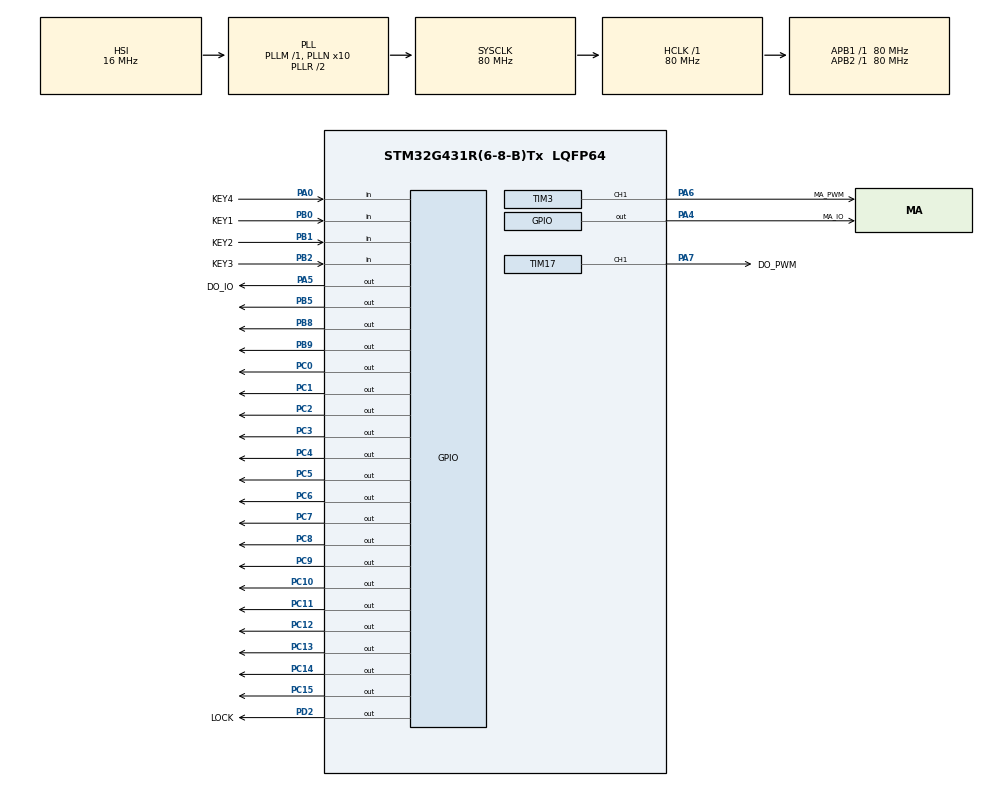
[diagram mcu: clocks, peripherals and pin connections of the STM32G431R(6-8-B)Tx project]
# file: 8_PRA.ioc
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Mcu.Family=STM32G4
Mcu.Name=STM32G431R(6-8-B)Tx
Mcu.Package=LQFP64
NVIC.PriorityGroup=NVIC_PRIORITYGROUP_4
NVIC.TIM2_IRQn=true\:0\:0\:false\:false\:true\:true\:true
PA0.GPIO_Label=KEY4
PA0.Signal=GPIO_Input
PA13.Mode=Serial_Wire
PA13.Signal=SYS_JTMS-SWDIO
PA14.Mode=Serial_Wire
PA14.Signal=SYS_JTCK-SWCLK
PA4.GPIO_Label=MA_IO
PA4.Signal=GPIO_Output
PA5.GPIO_Label=DO_IO
PA5.Signal=GPIO_Output
PA6.GPIO_Label=MA_PWM
PA6.Signal=S_TIM3_CH1
PA7.GPIO_Label=DO_PWM
PA7.Signal=S_TIM17_CH1
PB0.GPIO_Label=KEY1
PB0.Signal=GPIO_Input
PB1.GPIO_Label=KEY2
PB1.Signal=GPIO_Input
PB2.GPIO_Label=KEY3
PB2.Signal=GPIO_Input
PB5.Signal=GPIO_Output
PB8-BOOT0.Signal=GPIO_Output
PB9.Signal=GPIO_Output
PC0.Signal=GPIO_Output
PC1.Signal=GPIO_Output
PC10.Signal=GPIO_Output
PC11.Signal=GPIO_Output
PC12.Signal=GPIO_Output
PC13.Signal=GPIO_Output
PC14-OSC32_IN.Signal=GPIO_Output
PC15-OSC32_OUT.Signal=GPIO_Output
PC2.Signal=GPIO_Output
PC3.Signal=GPIO_Output
PC4.Signal=GPIO_Output
PC5.Signal=GPIO_Output
PC6.Signal=GPIO_Output
PC7.Signal=GPIO_Output
PC8.Signal=GPIO_Output
PC9.Signal=GPIO_Output
PD2.GPIO_Label=LOCK
PD2.Signal=GPIO_Output
PF0-OSC_IN.Mode=HSE-External-Oscillator
PF0-OSC_IN.Signal=RCC_OSC_IN
PF1-OSC_OUT.Mode=HSE-External-Oscillator
PF1-OSC_OUT.Signal=RCC_OSC_OUT
ProjectManager.HeapSize=0x200
ProjectManager.StackSize=0x400
ProjectManager.TargetToolchain=MDK-ARM V5.27
RCC.ADC12Freq_Value=80000000
RCC.AHBFreq_Value=80000000
RCC.APB1Freq_Value=80000000
RCC.APB1TimFreq_Value=80000000
RCC.APB2Freq_Value=80000000
RCC.APB2TimFreq_Value=80000000
RCC.CortexFreq_Value=80000000
RCC.EXTERNAL_CLOCK_VALUE=12288000
RCC.HCLKFreq_Value=80000000
RCC.HSE_VALUE=8000000
RCC.HSI48_VALUE=48000000
RCC.HSI_VALUE=16000000
RCC.LSE_VALUE=32768
RCC.PLLN=10
RCC.SYSCLKFreq_VALUE=80000000
RCC.SYSCLKSource=RCC_SYSCLKSOURCE_PLLCLK
RCC.USBFreq_Value=80000000
RCC.VCOOutputFreq_Value=160000000
RTC.AsynchPrediv=127
RTC.Date=13
RTC.Hours=20
RTC.Minutes=13
RTC.Month=RTC_MONTH_MARCH
RTC.Seconds=13
RTC.SynchPrediv=255
RTC.WeekDay=RTC_WEEKDAY_SATURDAY
SH.S_TIM17_CH1.0=TIM17_CH1,PWM Generation1 CH1
SH.S_TIM3_CH1.0=TIM3_CH1,PWM Generation1 CH1
TIM17.Channel=TIM_CHANNEL_1
TIM17.PeriodNoDither=500-1
TIM17.Prescaler=80-1
TIM2.PeriodNoDither=1000-1
TIM2.Prescaler=80-1
TIM3.Channel-PWM\ Generation1\ CH1=TIM_CHANNEL_1
TIM3.PeriodNoDither=1000-1
TIM3.Prescaler=80-1
VP_RTC_VS_RTC_Activate.Mode=RTC_Enabled
VP_RTC_VS_RTC_Calendar.Mode=RTC_Calendar
VP_SYS_VS_DBSignals.Mode=DisableDeadBatterySignals
VP_TIM17_VS_ClockSourceINT.Mode=Enable_Timer
VP_TIM2_VS_ClockSourceINT.Mode=Internal
board=custom

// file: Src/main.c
/* USER CODE BEGIN Header */
/**
  ******************************************************************************
  * @file           : main.c
  * @brief          : Main program body
  ******************************************************************************
  * @attention
  *
  * <h2><center>&copy; Copyright (c) 2022 STMicroelectronics.
  * All rights reserved.</center></h2>
  *
  * This software component is licensed by ST under BSD 3-Clause license,
  * the "License"; You may not use this file except in compliance with the
  * License. You may obtain a copy of the License at:
  *                        opensource.org/licenses/BSD-3-Clause
  *
  ******************************************************************************
  */
/* USER CODE END Header */
#include "main.h"
#include "rtc.h"
#include "tim.h"
#include "gpio.h"

/* USER CODE BEGIN Includes */
#include "stdio.h"
#include "string.h"
#include "lcd.h"
#include "acan.h"
#include "stdlib.h "
/* USER CODE END Includes */

/* USER CODE BEGIN PV */

//RTC
RTC_TimeTypeDef T;
RTC_DateTypeDef D;

//LCD
char buff1[50], buff2[50], buff3[50];

//IT
int i = 0, j = 0, k = 0, m = 0, n = 0, a = 0;
//楼层
int flag1 = 0, flag2 = 0, flag3 = 0, flag4 = 0;
int aim[4] = {0};
int temp[4] = {0};
int num = 0, num2 = 0, change = 0;
int floor_now = 1;
int motor_flag = 0;
int motor_go = 0;
int door_up_flag = 0, door_down_flag = 0, door_wait = 0;
int other_flag = 0;
int floor_lcd = 0;
int floor_shan = 0;
//按键
int flag_key = 0;
//LED
int led_up_flag = 0, led_down_flag = 0;
int led_off_flag = 0;
int led_break = 0;
/* USER CODE END PV */

void SystemClock_Config(void);

/* USER CODE BEGIN 0 */
void Key_Control(void);
void Key_handel(void);
void Motor_Order(void);
void Motor_Work(void);
/* USER CODE END 0 */

int main(void)
{

  /* MCU Configuration--------------------------------------------------------*/

  /* Reset of all peripherals, Initializes the Flash interface and the Systick. */
  HAL_Init();

  /* Configure the system clock */
  SystemClock_Config();

  /* Initialize all configured peripherals */
  MX_GPIO_Init();
  MX_RTC_Init();
  MX_TIM3_Init();
  MX_TIM2_Init();
  MX_TIM17_Init();
  /* USER CODE BEGIN 2 */
	LCD_Init();
	LCD_Clear(Black);
	LCD_SetBackColor(Black);
	LCD_SetTextColor(White);
	HAL_TIM_PWM_Start(&htim3, TIM_CHANNEL_1);
	HAL_TIM_PWM_Start(&htim17, TIM_CHANNEL_1);
	//升降机门
	HAL_GPIO_WritePin(DO_IO_GPIO_Port, DO_IO_Pin, GPIO_PIN_SET);
	Init_Dis();
	Led_Off();
	HAL_TIM_Base_Start_IT(&htim2);
  /* USER CODE END 2 */

  /* Infinite loop */
  while (1)
  {

    /* USER CODE BEGIN 3 */
		Rtc_Tim();
		Key_Control();
		if (motor_flag == 1)
		{
			Motor_Order();
			motor_flag = 0;
		}
		//ceshi
		sprintf(buff3, "num:%1d// %1d %1d %1d ch:%1d      ", num2, temp[0], temp[1], temp[2], change);
			LCD_DisplayStringLine(Line6, (u8 *)buff3);
		sprintf(buff3, "%d %d", floor_now, motor_flag);
			LCD_DisplayStringLine(Line7, (u8 *)buff3);
		//ceshi
		if (floor_lcd == 1)
		{
			sprintf(buff2, "       LEVEL    ");
			LCD_DisplayStringLine(Line2, (u8 *)buff2);
			sprintf(buff2, "         %d      ", floor_now);
			LCD_DisplayStringLine(Line5, (u8 *)buff2);
//			if (floor_shan >= 2)
//			{
//				floor_lcd = 0;
//				floor_shan = 0;
//			}

			if ((floor_shan < 2)&& (led_break == 0))// && (led_break < 3)
			{
//				if ((floor_now == aim[change]))
//					led_break++;
//				else led_break = 0;
				LCD_ClearLine(Line5);
			}
			else
			{
				led_break = 1;
				floor_lcd = 0;
				floor_shan = 0;
			}
		}

		//上下电梯指示灯
		if (led_up_flag == 1)
		{
			Led_Up();
		}
		else if (led_down_flag == 1)
		{
			Led_Dowm();
		}
		else if (led_off_flag == 1)
		{
			Led_Random_Off(floor_now);
		}
		else
		{
			led_stop();
		}

  }
  /* USER CODE END 3 */
}

void SystemClock_Config(void)
{
  RCC_OscInitTypeDef RCC_OscInitStruct = {0};
  RCC_ClkInitTypeDef RCC_ClkInitStruct = {0};
  RCC_PeriphCLKInitTypeDef PeriphClkInit = {0};

  /** Configure the main internal regulator output voltage
  */
  HAL_PWREx_ControlVoltageScaling(PWR_REGULATOR_VOLTAGE_SCALE1);
  /** Initializes the RCC Oscillators according to the specified parameters
  * in the RCC_OscInitTypeDef structure.
  */
  RCC_OscInitStruct.OscillatorType = RCC_OSCILLATORTYPE_HSI|RCC_OSCILLATORTYPE_LSI;
  RCC_OscInitStruct.HSIState = RCC_HSI_ON;
  RCC_OscInitStruct.HSICalibrationValue = RCC_HSICALIBRATION_DEFAULT;
  RCC_OscInitStruct.LSIState = RCC_LSI_ON;
  RCC_OscInitStruct.PLL.PLLState = RCC_PLL_ON;
  RCC_OscInitStruct.PLL.PLLSource = RCC_PLLSOURCE_HSI;
  RCC_OscInitStruct.PLL.PLLM = RCC_PLLM_DIV1;
  RCC_OscInitStruct.PLL.PLLN = 10;
  RCC_OscInitStruct.PLL.PLLP = RCC_PLLP_DIV2;
  RCC_OscInitStruct.PLL.PLLQ = RCC_PLLQ_DIV2;
  RCC_OscInitStruct.PLL.PLLR = RCC_PLLR_DIV2;
  if (HAL_RCC_OscConfig(&RCC_OscInitStruct) != HAL_OK)
  {
    Error_Handler();
  }
  /** Initializes the CPU, AHB and APB buses clocks
  */
  RCC_ClkInitStruct.ClockType = RCC_CLOCKTYPE_HCLK|RCC_CLOCKTYPE_SYSCLK
                              |RCC_CLOCKTYPE_PCLK1|RCC_CLOCKTYPE_PCLK2;
  RCC_ClkInitStruct.SYSCLKSource = RCC_SYSCLKSOURCE_PLLCLK;
  RCC_ClkInitStruct.AHBCLKDivider = RCC_SYSCLK_DIV1;
  RCC_ClkInitStruct.APB1CLKDivider = RCC_HCLK_DIV1;
  RCC_ClkInitStruct.APB2CLKDivider = RCC_HCLK_DIV1;

  if (HAL_RCC_ClockConfig(&RCC_ClkInitStruct, FLASH_LATENCY_2) != HAL_OK)
  {
    Error_Handler();
  }
  /** Initializes the peripherals clocks
  */
  PeriphClkInit.PeriphClockSelection = RCC_PERIPHCLK_RTC;
  PeriphClkInit.RTCClockSelection = RCC_RTCCLKSOURCE_LSI;

  if (HAL_RCCEx_PeriphCLKConfig(&PeriphClkInit) != HAL_OK)
  {
    Error_Handler();
  }
}

/* USER CODE BEGIN 4 */
void HAL_TIM_PeriodElapsedCallback(TIM_HandleTypeDef *htim)
{
	if (htim == &htim2)
	{
		Key_handel();
		if (flag_key == 1)
		{
			j++;
		}
		if (j == 1000)
		{
			j = 0;
			flag_key = 0;
			motor_flag = 1;
		}
		if (motor_go == 1)
		{
			Motor_Work();
			i++;
			if (i == 6000)
			{
				i = 0;
				motor_flag = 0;
				led_off_flag = 1;
				led_down_flag = 0;
				led_up_flag = 0;
				door_up_flag = 1;
				motor_go = 0;
				floor_lcd = 1;

				if (temp[change] > floor_now)
				{
					floor_now++;
				}
				else if (temp[change] < floor_now)
				{
					floor_now--;
				}
			}
		}
		//开门
		if (door_up_flag == 1)
		{
			HAL_GPIO_WritePin(DO_IO_GPIO_Port, DO_IO_Pin, GPIO_PIN_SET);
			__HAL_TIM_SetCompare(&htim17, TIM_CHANNEL_1, 300);
			k++;
			if (k == 4000)
			{
				k = 0;
				if (temp[change + 1] != 0)
				{
					door_wait = 1;
				}
				else
				{
					door_down_flag = 1;
				}
				door_up_flag = 0;
			}
		}
		//停留
		if (door_wait == 1)
		{
			m++;
			if (m == 2000)
			{
				m = 0;
				door_down_flag = 1;
			}
		}
		//关门
		if (door_down_flag == 1)
		{
			HAL_GPIO_WritePin(DO_IO_GPIO_Port, DO_IO_Pin, GPIO_PIN_RESET);
			__HAL_TIM_SetCompare(&htim17, TIM_CHANNEL_1, 250);
			n++;
			if (n == 4000)
			{
				n = 0;
				door_down_flag = 0;
				if (change < num2)
				{
					motor_go = 1;
				}
			}
		}
		//闪灯
		if (floor_lcd == 1)
		{
			a++;
			if (a == 375)
			{
				a = 0;
				floor_shan++;
			}
		}

	}
}

void Motor_Work(void)
{
	if (change < num2)
	{
		if (temp[change] > floor_now)
		{
			led_up_flag = 1;
			__HAL_TIM_SetCompare(&htim3, TIM_CHANNEL_1, 800);
			HAL_GPIO_WritePin(MA_IO_GPIO_Port, MA_IO_Pin, GPIO_PIN_SET);
//			floor_now++;
		}
		else if (temp[change] < floor_now)
		{
			led_down_flag = 1;
			__HAL_TIM_SetCompare(&htim3, TIM_CHANNEL_1, 600);
			HAL_GPIO_WritePin(MA_IO_GPIO_Port, MA_IO_Pin, GPIO_PIN_RESET);
//			floor_now--;
		}
		else if (floor_now == temp[change])
		{
			if (temp[change + 1] != 0)
			{
				change++;
				led_break = 0;
			}
		}
	}
}

void Motor_Order(void)
{
	int i, value, j;

	for(i = 0; i < num-1; i++)
	{
		if (aim[i] < aim[i + 1])
		{
			value = aim[i];
			aim[i] = aim[i + 1];
			aim[i + 1] = value;
		}
	}
	for (j = 0; j < 3; j++)
	{
		temp[j] = aim[j];
	}
	num2 = num;
	num = 0;
	for (j = 0; j < 3; j++)
	{
		aim[j] = 0;
	}
	HAL_GPIO_WritePin(DO_IO_GPIO_Port, DO_IO_Pin, GPIO_PIN_RESET);
	door_down_flag = 1;
}

void Key_handel(void)
{
	if(Key_Scan(KEY1_GPIO_Port, KEY1_Pin) == 1)
		{
			flag_key = 1;
			flag1 = 1;
			j = 0;
		}
		else if (Key_Scan(KEY2_GPIO_Port, KEY2_Pin) == 1)
		{
			flag_key = 1;
			flag2 = 1;
			j = 0;
		}
		else if (Key_Scan(KEY3_GPIO_Port, KEY3_Pin) == 1)
		{
			flag_key = 1;
			flag3 = 1;
			j = 0;
		}
		else if (Key_Scan(KEY4_GPIO_Port, KEY4_Pin) == 1)
		{
			flag_key = 1;
			flag4 = 1;
			j = 0;
		}
}

void Key_Control(void)
{
	if (flag1 == 1)
		{
			if(floor_now != 1)
			{
				if (num < 3)
				aim[num++] = 1;
				Led_Random(1);
			}
			flag1 = 0;
		}
		else if (flag2 == 1)
		{
			if(floor_now != 2)
			{
				if (num < 3)
				aim[num++] = 2;
				Led_Random(2);
			}
			flag2 = 0;
		}
		else if (flag3 == 1)
		{
			if(floor_now != 3)
			{
				if (num < 3)
				aim[num++] = 3;
				Led_Random(3);
			}
			flag3 = 0;
		}
		else if (flag4 == 1)
		{
			if(floor_now != 4)
			{
				if (num < 3)
				aim[num++] = 4;
				Led_Random(4);
			}
			flag4 = 0;
		}
}

/* USER CODE END 4 */

void Error_Handler(void)
{
  __disable_irq();
  while (1)
  {
  }
}

/************************ (C) COPYRIGHT STMicroelectronics *****END OF FILE****/
